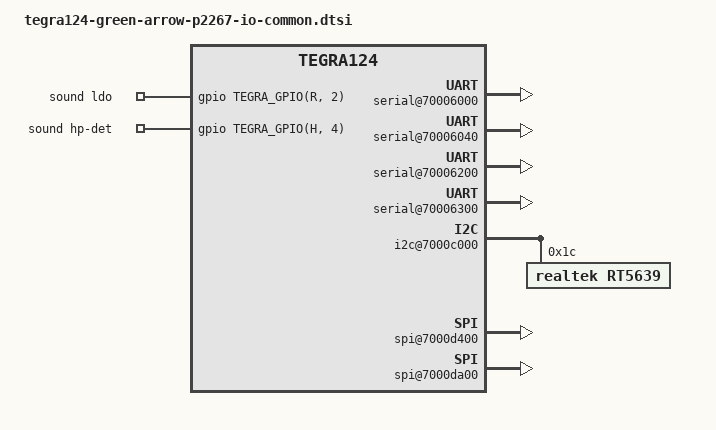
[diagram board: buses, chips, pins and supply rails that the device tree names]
/*
 * tegra124-green-arrow-p2267-io-common.dtsi: Common IO file for Green Arrow
 *
 * Copyright (c) 2015, NVIDIA CORPORATION.  All rights reserved.
 *
 * This program is free software; you can redistribute it and/or modify
 * it under the terms of the GNU General Public License as published by
 * the Free Software Foundation; either version 2 of the License, or
 * (at your option) any later version.
 *
 * This program is distributed in the hope that it will be useful, but WITHOUT
 * ANY WARRANTY; without even the implied warranty of MERCHANTABILITY or
 * FITNESS FOR A PARTICULAR PURPOSE.  See the GNU General Public License for
 * more details.
 */

/* This file is mainly for IO-Peripherals like SPI/I2C/USB/UART etc */

/ {
	serial@70006000 {
		compatible = "nvidia,tegra114-hsuart";
		status = "okay";
	};

	serial@70006040 {
		compatible = "nvidia,tegra114-hsuart";
		status = "okay";
	};

	serial@70006200 {
		compatible = "nvidia,tegra114-hsuart";
		status = "okay";
	};

	serial@70006300 {
		compatible = "nvidia,tegra20-uart", "nvidia,tegra114-hsuart";
		console-port;
		sqa-automation-port;
		status = "okay";
	};

	i2c@7000d000 {
		nvidia,bit-banging-xfer-after-shutdown;
	};


	i2c@7000c000 {
		rt5639: rt5639.0-001c@1c {
			compatible = "realtek,rt5639";
			reg = <0x1c>;
		};
	};

	spi@7000d400 {
		status = "okay";
		spi-max-frequency = <25000000>;
	};

	spi@7000da00 {
		status = "okay";
		spi-max-frequency = <25000000>;
	};

	pmc@7000e400 {
		status = "okay";
		nvidia,invert-interrupt;
		nvidia,cpu-suspend-freq = <204000>;
	};

	extcon {
		compatible = "simple-bus";
		device_type = "external-connection";
		#address-cells = <1>;
		#size-cells = <0>;
	};

	psy_extcon {
		compatible = "power-supply-extcon";
		power-supply,extcon-dev = "tegra-udc";
		extcon-cables = <&udc 1 &udc 2 &udc 3
				&udc 4 &udc 5 &udc 6
				&udc 7 &udc 8 &udc 9
				&udc 10 &udc 11 &udc 12 &udc 13 &otg 0 &otg 1>;
		extcon-cable-names = "usb-charger", "ta-charger", "maxim-charger",
				"qc2-charger", "downstream-charger","fast-charger",
				"slow-charger", "apple-500ma", "apple-1a",
				"apple-2a", "ACA NV-Charger", "ACA RID-B", "ACA RID-C", "y-cable", "ACA RID-A";
				status = "okay";
	};

	extcon {
		extcon_cable_xlate: extcon@0 {
			compatible = "extcon-cable-xlate";
			reg = <0x0>;
			extcon-name = "cable-xlate";
			output-cable-names = "USB", "USB-Host", "ACA-A", "Y-Cable", "ACA-B", "ACA-C", "ACA-NV";
			extcon-cables = <&palmas_extcon 0 &palmas_extcon 1 &palmas_extcon 2 &palmas_extcon 3 &palmas_extcon 4>;
			extcon-cable-names = "vbus", "id", "aca-ra", "aca-rb", "aca-rc";
			cable-new-states = <0x0     0x0     0x3F    0x0 0x0
					0x0     0x1     0x3F    0x1   0x0
					0x2     0x1     0x3F    0x0   0x0
					0x0     0x2     0x3F    0x2   0x0
					0x0     0x3     0x3F    0x8   0x0
					0x2     0x3     0x3F    0x2   0x0
					0x3     0x1     0x3F    0x0   0x0
					0x3     0x2     0x3F    0x2   0x0
					0x0     0x5     0x3F    0x4   0x0
					0x0     0x11    0x3F    0x20  0x0
					0x11     0x1    0x3F    0x1  0x0
					0x0     0x8     0x3F    0x10  0x0>;
			#extcon-cells = <1>;
			status = "disabled";
		};
	};

	sound {
		compatible = "nvidia,tegra-audio-rt5639";
		nvidia,codec_name = "rt5639.0-001c";
		nvidia,codec_dai_name = "rt5639-aif1";
		nvidia,ldo-gpios = <&gpio TEGRA_GPIO(R, 2) 0>;
		nvidia,hp-det-gpios = <&gpio TEGRA_GPIO(H, 4) 0>;
		nvidia,use_codec_jd_irq = <1>;
		nvidia,i2s-param-hifi = <1 1 2 16 48000 2 1536000>;
		nvidia,i2s-param-bt = <3 1 0 16 8000 1 512000>;
		nvidia,i2s-param-baseband = <0 1 2 16 16000 2 1024000>;
	};
};
